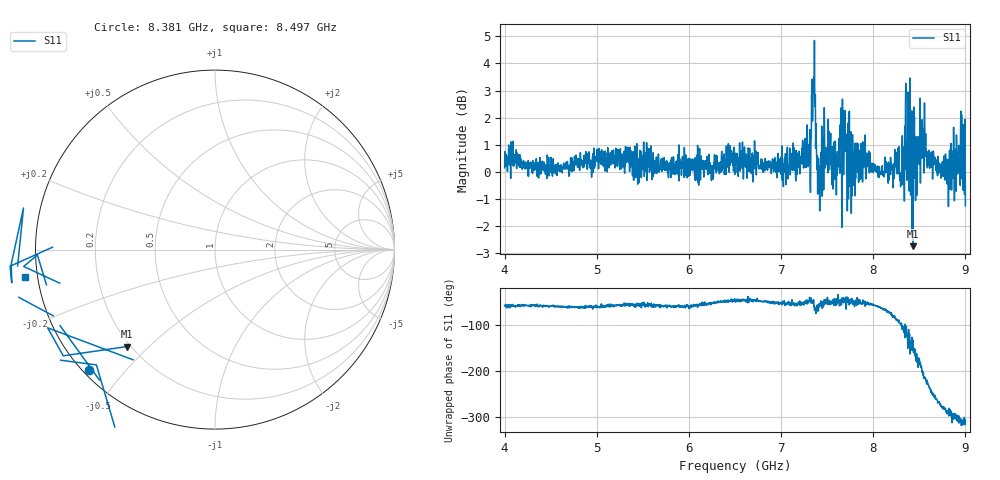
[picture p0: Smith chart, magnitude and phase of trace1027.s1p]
! Created with skrf 1.8.0 (http://scikit-rf.org).
# Hz S RI R 50.0
!freq ReS11 ImS11
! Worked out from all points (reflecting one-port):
!   1601 points, 4 GHz to 9 GHz, reference 50 ohm
!   lowest |S11| = -2.7 dB at 8.431 GHz (marker M1), VSWR 6.38, Z = 9.32 - j21.5 ohm
!   phase of S11 starts at -57 deg and turns -250 deg over the sweep
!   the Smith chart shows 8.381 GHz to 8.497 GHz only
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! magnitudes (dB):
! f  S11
! 4 GHz  0.1
! 4.625 GHz  0.0
! 5.25 GHz  0.1
! 5.875 GHz  -0.1
! 6.247 GHz  -0.1
! 6.5 GHz  0.5
! 7.038 GHz  0.5
! 7.125 GHz  0.3
! 7.297 GHz  1.0
! 7.353 GHz  3.4
! 7.412 GHz  -0.5
! 7.481 GHz  0.2
! 7.606 GHz  0.6
! 7.672 GHz  2.3
! 7.75 GHz  -0.5
! 7.775 GHz  1.4
! 7.891 GHz  0.2
! 8.097 GHz  0.2
! 8.256 GHz  -0.1
! 8.284 GHz  0.0
! 8.375 GHz  1.0
! 8.406 GHz  -0.9
! 8.431 GHz  -2.7
! 8.544 GHz  0.5
! 8.606 GHz  0.5
! 8.806 GHz  -0.1
! 8.972 GHz  0.9
! 9 GHz  -1.3
